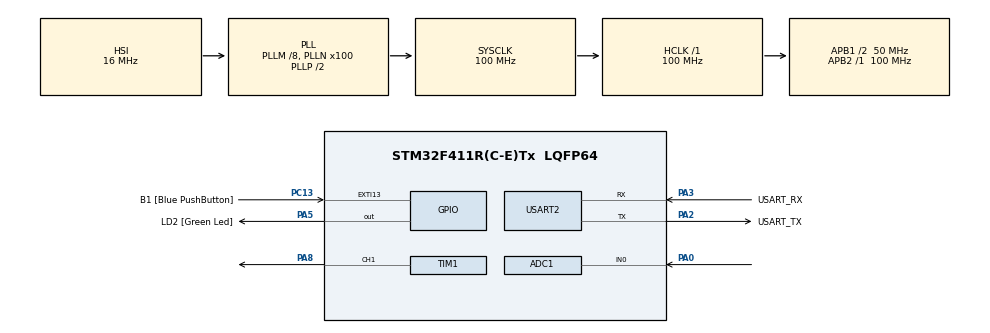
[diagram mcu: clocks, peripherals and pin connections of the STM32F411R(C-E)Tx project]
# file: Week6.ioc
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Mcu.Family=STM32F4
RCC.CortexFreq_Value=100000000
PA14.GPIO_Label=TCK
TIM1.Pulse-PWM\ Generation1\ CH1=0
RCC.SYSCLKSource=RCC_SYSCLKSOURCE_PLLCLK
ProjectManager.StackSize=0x400
TIM1.OC1Preload_PWM=ENABLE
NVIC.ADC_IRQn=true\:0\:0\:false\:false\:true\:true\:true
TIM1.Prescaler=0
PH0\ -\ OSC_IN.Signal=RCC_OSC_IN
RCC.HCLKFreq_Value=100000000
RCC.APB2TimFreq_Value=100000000
TIM3.Period=1000
RCC.AHBFreq_Value=100000000
TIM3.ClockDivision=TIM_CLOCKDIVISION_DIV1
ADC1.Channel-0\#ChannelRegularConversion=ADC_CHANNEL_0
NVIC.TIM1_TRG_COM_TIM11_IRQn=true\:0\:0\:false\:false\:true\:true\:true
RCC.HSE_VALUE=8000000
PC13-ANTI_TAMP.Signal=GPXTI13
PC14-OSC32_IN.Mode=LSE-External-Oscillator
TIM1.Channel-PWM\ Generation1\ CH1=TIM_CHANNEL_1
PA14.Mode=Serial_Wire
TIM3.Prescaler=99
PA8.Signal=S_TIM1_CH1
SH.ADCx_IN0.0=ADC1_IN0,IN0
VP_TIM1_VS_ClockSourceINT.Mode=Internal
ADC1.SamplingTime-0\#ChannelRegularConversion=ADC_SAMPLETIME_56CYCLES
RCC.FLatency-AdvancedSettings=FLASH_LATENCY_3
Mcu.Package=LQFP64
USART2.VirtualMode=VM_ASYNC
PA2.GPIO_Label=USART_TX
RCC.APB1TimFreq_Value=100000000
TIM1.Period=10000
VP_TIM3_VS_ClockSourceINT.Mode=Internal
PA3.Signal=USART2_RX
PB3.GPIO_Label=SWO
PC15-OSC32_OUT.Mode=LSE-External-Oscillator
ADC1.Rank-0\#ChannelRegularConversion=1
PC13-ANTI_TAMP.GPIO_Label=B1 [Blue PushButton]
PH1\ -\ OSC_OUT.Mode=HSE-External-Clock-Source
TIM11.Prescaler=99
RCC.APB1CLKDivider=RCC_HCLK_DIV2
PC14-OSC32_IN.Signal=RCC_OSC32_IN
PA0-WKUP.Signal=ADCx_IN0
VP_TIM11_VS_ClockSourceINT.Mode=Enable_Timer
TIM1.AutoReloadPreload=TIM_AUTORELOAD_PRELOAD_ENABLE
PA13.Signal=SYS_JTMS-SWDIO
PA3.Mode=Asynchronous
PH0\ -\ OSC_IN.Mode=HSE-External-Clock-Source
SH.S_TIM1_CH1.0=TIM1_CH1,PWM Generation1 CH1
ProjectManager.TargetToolchain=STM32CubeIDE
PC15-OSC32_OUT.Signal=RCC_OSC32_OUT
PA5.Signal=GPIO_Output
PH1\ -\ OSC_OUT.Signal=RCC_OSC_OUT
board=NUCLEO-F411RE
RCC.VCOOutputFreq_Value=200000000
RCC.APB2Freq_Value=100000000
ADC1.NbrOfConversion=1
PA13.Mode=Serial_Wire
Mcu.Name=STM32F411R(C-E)Tx
PA13.GPIO_Label=TMS
PA2.Signal=USART2_TX
ADC1.ExternalTrigConv=ADC_EXTERNALTRIGCONV_T3_TRGO
RCC.48MHZClocksFreq_Value=50000000
PB3.Signal=SYS_JTDO-SWO
RCC.SYSCLKFreq_VALUE=100000000
ADC1.master=1
PA5.GPIO_Label=LD2 [Green Led]
PC13-ANTI_TAMP.GPIO_ModeDefaultEXTI=GPIO_MODE_IT_FALLING
PA14.Signal=SYS_JTCK-SWCLK
ProjectManager.HeapSize=0x200
RCC.HSI_VALUE=16000000
NVIC.PriorityGroup=NVIC_PRIORITYGROUP_0
ADC1.NbrOfConversionFlag=1
RCC.PLLM=8
RCC.PLLN=100
PA2.Mode=Asynchronous
TIM3.TIM_MasterOutputTrigger=TIM_TRGO_UPDATE
RCC.APB1Freq_Value=50000000
PA3.GPIO_Label=USART_RX

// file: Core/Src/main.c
/* USER CODE BEGIN Header */
/**
 ******************************************************************************
 * @file           : main.c
 * @brief          : Main program body
 ******************************************************************************
 * @attention
 *
 * <h2><center>&copy; Copyright (c) 2021 STMicroelectronics.
 * All rights reserved.</center></h2>
 *
 * This software component is licensed by ST under BSD 3-Clause license,
 * the "License"; You may not use this file except in compliance with the
 * License. You may obtain a copy of the License at:
 *                        opensource.org/licenses/BSD-3-Clause
 *
 ******************************************************************************
 */
/* USER CODE END Header */
#include "main.h"

ADC_HandleTypeDef hadc1;

TIM_HandleTypeDef htim1;
TIM_HandleTypeDef htim3;
TIM_HandleTypeDef htim11;

UART_HandleTypeDef huart2;

/* USER CODE BEGIN PV */

uint8_t ADCUpdateFlag = 0;
//Store ADC Value
uint16_t ADCFeedBack = 0;

uint16_t PWMOut = 3000;
float Rratio = 0;
uint16_t NewPWM=0;
uint64_t _micro = 0;
uint64_t TimeOutputLoop = 0;
uint64_t TimeOutputLoop2 = 0;
/* USER CODE END PV */

void SystemClock_Config(void);
static void MX_GPIO_Init(void);
static void MX_USART2_UART_Init(void);
static void MX_ADC1_Init(void);
static void MX_TIM1_Init(void);
static void MX_TIM11_Init(void);
static void MX_TIM3_Init(void);
/* USER CODE BEGIN PFP */
uint64_t micros();
/* USER CODE END PFP */

int main(void)
{

  /* MCU Configuration--------------------------------------------------------*/

  /* Reset of all peripherals, Initializes the Flash interface and the Systick. */
  HAL_Init();

  /* Configure the system clock */
  SystemClock_Config();

  /* Initialize all configured peripherals */
  MX_GPIO_Init();
  MX_USART2_UART_Init();
  MX_ADC1_Init();
  MX_TIM1_Init();
  MX_TIM11_Init();
  MX_TIM3_Init();
  /* USER CODE BEGIN 2 */
	//ADC START
	HAL_ADC_Start_IT(&hadc1);
	HAL_TIM_Base_Start(&htim3);
	// start pwm
	HAL_TIM_Base_Start(&htim1);
	HAL_TIM_PWM_Start(&htim1, TIM_CHANNEL_1);
	// start micros
	HAL_TIM_Base_Start_IT(&htim11);

  /* USER CODE END 2 */

  /* Infinite loop */
	while (1)
	{

    /* USER CODE BEGIN 3 */

		//1 Khz Loop
		if (micros() - TimeOutputLoop >= 1000)//uS
		{
			TimeOutputLoop = micros();

			// #001

			NewPWM=(10000*1000)/(Rratio*2730);

			PWMOut = NewPWM;

			__HAL_TIM_SET_COMPARE(&htim1, TIM_CHANNEL_1, PWMOut);

		}
		Rratio = ADCFeedBack/ (((float)PWMOut*2730)/10000);
		if (ADCUpdateFlag)
		{
			ADCUpdateFlag = 0;
			//#002
		}

	}
  /* USER CODE END 3 */
}

void SystemClock_Config(void)
{
  RCC_OscInitTypeDef RCC_OscInitStruct = {0};
  RCC_ClkInitTypeDef RCC_ClkInitStruct = {0};

  /** Configure the main internal regulator output voltage
  */
  __HAL_RCC_PWR_CLK_ENABLE();
  __HAL_PWR_VOLTAGESCALING_CONFIG(PWR_REGULATOR_VOLTAGE_SCALE1);
  /** Initializes the RCC Oscillators according to the specified parameters
  * in the RCC_OscInitTypeDef structure.
  */
  RCC_OscInitStruct.OscillatorType = RCC_OSCILLATORTYPE_HSI;
  RCC_OscInitStruct.HSIState = RCC_HSI_ON;
  RCC_OscInitStruct.HSICalibrationValue = RCC_HSICALIBRATION_DEFAULT;
  RCC_OscInitStruct.PLL.PLLState = RCC_PLL_ON;
  RCC_OscInitStruct.PLL.PLLSource = RCC_PLLSOURCE_HSI;
  RCC_OscInitStruct.PLL.PLLM = 8;
  RCC_OscInitStruct.PLL.PLLN = 100;
  RCC_OscInitStruct.PLL.PLLP = RCC_PLLP_DIV2;
  RCC_OscInitStruct.PLL.PLLQ = 4;
  if (HAL_RCC_OscConfig(&RCC_OscInitStruct) != HAL_OK)
  {
    Error_Handler();
  }
  /** Initializes the CPU, AHB and APB buses clocks
  */
  RCC_ClkInitStruct.ClockType = RCC_CLOCKTYPE_HCLK|RCC_CLOCKTYPE_SYSCLK
                              |RCC_CLOCKTYPE_PCLK1|RCC_CLOCKTYPE_PCLK2;
  RCC_ClkInitStruct.SYSCLKSource = RCC_SYSCLKSOURCE_PLLCLK;
  RCC_ClkInitStruct.AHBCLKDivider = RCC_SYSCLK_DIV1;
  RCC_ClkInitStruct.APB1CLKDivider = RCC_HCLK_DIV2;
  RCC_ClkInitStruct.APB2CLKDivider = RCC_HCLK_DIV1;

  if (HAL_RCC_ClockConfig(&RCC_ClkInitStruct, FLASH_LATENCY_3) != HAL_OK)
  {
    Error_Handler();
  }
}

static void MX_ADC1_Init(void)
{

  ADC_ChannelConfTypeDef sConfig = {0};

  /** Configure the global features of the ADC (Clock, Resolution, Data Alignment and number of conversion)
  */
  hadc1.Instance = ADC1;
  hadc1.Init.ClockPrescaler = ADC_CLOCK_SYNC_PCLK_DIV4;
  hadc1.Init.Resolution = ADC_RESOLUTION_12B;
  hadc1.Init.ScanConvMode = DISABLE;
  hadc1.Init.ContinuousConvMode = DISABLE;
  hadc1.Init.DiscontinuousConvMode = DISABLE;
  hadc1.Init.ExternalTrigConvEdge = ADC_EXTERNALTRIGCONVEDGE_RISING;
  hadc1.Init.ExternalTrigConv = ADC_EXTERNALTRIGCONV_T3_TRGO;
  hadc1.Init.DataAlign = ADC_DATAALIGN_RIGHT;
  hadc1.Init.NbrOfConversion = 1;
  hadc1.Init.DMAContinuousRequests = DISABLE;
  hadc1.Init.EOCSelection = ADC_EOC_SINGLE_CONV;
  if (HAL_ADC_Init(&hadc1) != HAL_OK)
  {
    Error_Handler();
  }
  /** Configure for the selected ADC regular channel its corresponding rank in the sequencer and its sample time.
  */
  sConfig.Channel = ADC_CHANNEL_0;
  sConfig.Rank = 1;
  sConfig.SamplingTime = ADC_SAMPLETIME_56CYCLES;
  if (HAL_ADC_ConfigChannel(&hadc1, &sConfig) != HAL_OK)
  {
    Error_Handler();
  }

}

static void MX_TIM1_Init(void)
{

  TIM_ClockConfigTypeDef sClockSourceConfig = {0};
  TIM_MasterConfigTypeDef sMasterConfig = {0};
  TIM_OC_InitTypeDef sConfigOC = {0};
  TIM_BreakDeadTimeConfigTypeDef sBreakDeadTimeConfig = {0};

  htim1.Instance = TIM1;
  htim1.Init.Prescaler = 0;
  htim1.Init.CounterMode = TIM_COUNTERMODE_UP;
  htim1.Init.Period = 10000;
  htim1.Init.ClockDivision = TIM_CLOCKDIVISION_DIV1;
  htim1.Init.RepetitionCounter = 0;
  htim1.Init.AutoReloadPreload = TIM_AUTORELOAD_PRELOAD_ENABLE;
  if (HAL_TIM_Base_Init(&htim1) != HAL_OK)
  {
    Error_Handler();
  }
  sClockSourceConfig.ClockSource = TIM_CLOCKSOURCE_INTERNAL;
  if (HAL_TIM_ConfigClockSource(&htim1, &sClockSourceConfig) != HAL_OK)
  {
    Error_Handler();
  }
  if (HAL_TIM_PWM_Init(&htim1) != HAL_OK)
  {
    Error_Handler();
  }
  sMasterConfig.MasterOutputTrigger = TIM_TRGO_RESET;
  sMasterConfig.MasterSlaveMode = TIM_MASTERSLAVEMODE_DISABLE;
  if (HAL_TIMEx_MasterConfigSynchronization(&htim1, &sMasterConfig) != HAL_OK)
  {
    Error_Handler();
  }
  sConfigOC.OCMode = TIM_OCMODE_PWM1;
  sConfigOC.Pulse = 0;
  sConfigOC.OCPolarity = TIM_OCPOLARITY_HIGH;
  sConfigOC.OCNPolarity = TIM_OCNPOLARITY_HIGH;
  sConfigOC.OCFastMode = TIM_OCFAST_DISABLE;
  sConfigOC.OCIdleState = TIM_OCIDLESTATE_RESET;
  sConfigOC.OCNIdleState = TIM_OCNIDLESTATE_RESET;
  if (HAL_TIM_PWM_ConfigChannel(&htim1, &sConfigOC, TIM_CHANNEL_1) != HAL_OK)
  {
    Error_Handler();
  }
  sBreakDeadTimeConfig.OffStateRunMode = TIM_OSSR_DISABLE;
  sBreakDeadTimeConfig.OffStateIDLEMode = TIM_OSSI_DISABLE;
  sBreakDeadTimeConfig.LockLevel = TIM_LOCKLEVEL_OFF;
  sBreakDeadTimeConfig.DeadTime = 0;
  sBreakDeadTimeConfig.BreakState = TIM_BREAK_DISABLE;
  sBreakDeadTimeConfig.BreakPolarity = TIM_BREAKPOLARITY_HIGH;
  sBreakDeadTimeConfig.AutomaticOutput = TIM_AUTOMATICOUTPUT_DISABLE;
  if (HAL_TIMEx_ConfigBreakDeadTime(&htim1, &sBreakDeadTimeConfig) != HAL_OK)
  {
    Error_Handler();
  }
  HAL_TIM_MspPostInit(&htim1);

}

static void MX_TIM3_Init(void)
{

  TIM_ClockConfigTypeDef sClockSourceConfig = {0};
  TIM_MasterConfigTypeDef sMasterConfig = {0};

  htim3.Instance = TIM3;
  htim3.Init.Prescaler = 99;
  htim3.Init.CounterMode = TIM_COUNTERMODE_UP;
  htim3.Init.Period = 1000;
  htim3.Init.ClockDivision = TIM_CLOCKDIVISION_DIV1;
  htim3.Init.AutoReloadPreload = TIM_AUTORELOAD_PRELOAD_DISABLE;
  if (HAL_TIM_Base_Init(&htim3) != HAL_OK)
  {
    Error_Handler();
  }
  sClockSourceConfig.ClockSource = TIM_CLOCKSOURCE_INTERNAL;
  if (HAL_TIM_ConfigClockSource(&htim3, &sClockSourceConfig) != HAL_OK)
  {
    Error_Handler();
  }
  sMasterConfig.MasterOutputTrigger = TIM_TRGO_UPDATE;
  sMasterConfig.MasterSlaveMode = TIM_MASTERSLAVEMODE_DISABLE;
  if (HAL_TIMEx_MasterConfigSynchronization(&htim3, &sMasterConfig) != HAL_OK)
  {
    Error_Handler();
  }

}

static void MX_TIM11_Init(void)
{

  htim11.Instance = TIM11;
  htim11.Init.Prescaler = 99;
  htim11.Init.CounterMode = TIM_COUNTERMODE_UP;
  htim11.Init.Period = 65535;
  htim11.Init.ClockDivision = TIM_CLOCKDIVISION_DIV1;
  htim11.Init.AutoReloadPreload = TIM_AUTORELOAD_PRELOAD_DISABLE;
  if (HAL_TIM_Base_Init(&htim11) != HAL_OK)
  {
    Error_Handler();
  }

}

static void MX_USART2_UART_Init(void)
{

  huart2.Instance = USART2;
  huart2.Init.BaudRate = 115200;
  huart2.Init.WordLength = UART_WORDLENGTH_8B;
  huart2.Init.StopBits = UART_STOPBITS_1;
  huart2.Init.Parity = UART_PARITY_NONE;
  huart2.Init.Mode = UART_MODE_TX_RX;
  huart2.Init.HwFlowCtl = UART_HWCONTROL_NONE;
  huart2.Init.OverSampling = UART_OVERSAMPLING_16;
  if (HAL_UART_Init(&huart2) != HAL_OK)
  {
    Error_Handler();
  }

}

static void MX_GPIO_Init(void)
{
  GPIO_InitTypeDef GPIO_InitStruct = {0};

  /* GPIO Ports Clock Enable */
  __HAL_RCC_GPIOC_CLK_ENABLE();
  __HAL_RCC_GPIOH_CLK_ENABLE();
  __HAL_RCC_GPIOA_CLK_ENABLE();
  __HAL_RCC_GPIOB_CLK_ENABLE();

  /*Configure GPIO pin Output Level */
  HAL_GPIO_WritePin(LD2_GPIO_Port, LD2_Pin, GPIO_PIN_RESET);

  /*Configure GPIO pin : B1_Pin */
  GPIO_InitStruct.Pin = B1_Pin;
  GPIO_InitStruct.Mode = GPIO_MODE_IT_FALLING;
  GPIO_InitStruct.Pull = GPIO_NOPULL;
  HAL_GPIO_Init(B1_GPIO_Port, &GPIO_InitStruct);

  /*Configure GPIO pin : LD2_Pin */
  GPIO_InitStruct.Pin = LD2_Pin;
  GPIO_InitStruct.Mode = GPIO_MODE_OUTPUT_PP;
  GPIO_InitStruct.Pull = GPIO_NOPULL;
  GPIO_InitStruct.Speed = GPIO_SPEED_FREQ_LOW;
  HAL_GPIO_Init(LD2_GPIO_Port, &GPIO_InitStruct);

}

/* USER CODE BEGIN 4 */

void HAL_ADC_ConvCpltCallback(ADC_HandleTypeDef *hadc)
{
	ADCFeedBack = HAL_ADC_GetValue(&hadc1);
	ADCUpdateFlag = 1;
}
void HAL_TIM_PeriodElapsedCallback(TIM_HandleTypeDef *htim)
{
	if (htim == &htim11)
	{
		_micro += 65535;
	}
}

__inline__ uint64_t micros()
{
	return _micro + htim11.Instance->CNT;
}
/* USER CODE END 4 */

void Error_Handler(void)
{
	__disable_irq();
	while (1)
	{
	}
}

/************************ (C) COPYRIGHT STMicroelectronics *****END OF FILE****/
